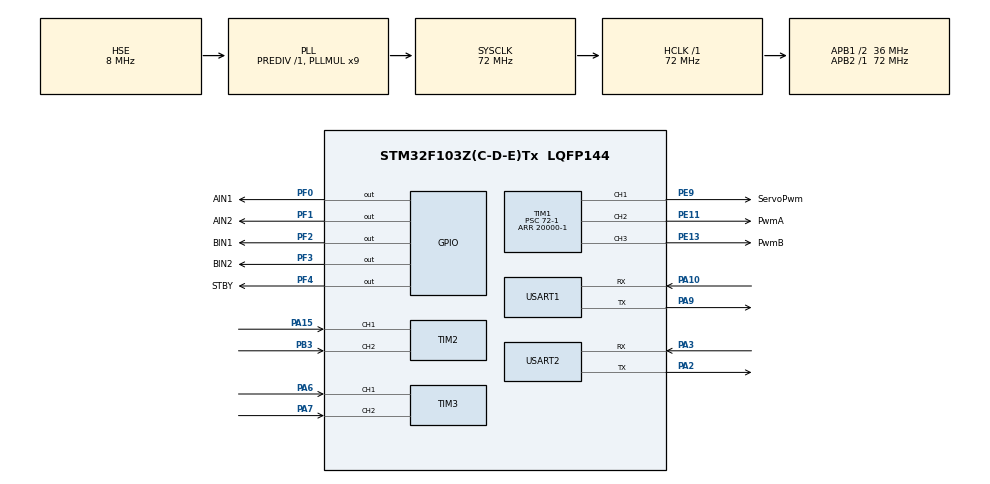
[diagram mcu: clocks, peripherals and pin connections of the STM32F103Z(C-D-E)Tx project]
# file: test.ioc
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Mcu.Family=STM32F1
Mcu.Name=STM32F103Z(C-D-E)Tx
Mcu.Package=LQFP144
NVIC.PriorityGroup=NVIC_PRIORITYGROUP_4
OSC_IN.Mode=HSE-External-Oscillator
OSC_IN.Signal=RCC_OSC_IN
OSC_OUT.Mode=HSE-External-Oscillator
OSC_OUT.Signal=RCC_OSC_OUT
PA10.Mode=Asynchronous
PA10.Signal=USART1_RX
PA13.Mode=Serial_Wire
PA13.Signal=SYS_JTMS-SWDIO
PA14.Mode=Serial_Wire
PA14.Signal=SYS_JTCK-SWCLK
PA15.Signal=S_TIM2_CH1_ETR
PA2.Mode=Asynchronous
PA2.Signal=USART2_TX
PA3.Mode=Asynchronous
PA3.Signal=USART2_RX
PA6.Signal=S_TIM3_CH1
PA7.Signal=S_TIM3_CH2
PA9.Mode=Asynchronous
PA9.Signal=USART1_TX
PB3.Signal=S_TIM2_CH2
PC14-OSC32_IN.Mode=LSE-External-Oscillator
PC14-OSC32_IN.Signal=RCC_OSC32_IN
PC15-OSC32_OUT.Mode=LSE-External-Oscillator
PC15-OSC32_OUT.Signal=RCC_OSC32_OUT
PE11.GPIO_Label=PwmA
PE11.Signal=S_TIM1_CH2
PE13.GPIO_Label=PwmB
PE13.Signal=S_TIM1_CH3
PE9.GPIO_Label=ServoPwm
PE9.Signal=S_TIM1_CH1
PF0.GPIO_Label=AIN1
PF0.Signal=GPIO_Output
PF1.GPIO_Label=AIN2
PF1.Signal=GPIO_Output
PF2.GPIO_Label=BIN1
PF2.Signal=GPIO_Output
PF3.GPIO_Label=BIN2
PF3.Signal=GPIO_Output
PF4.GPIO_Label=STBY
PF4.Signal=GPIO_Output
ProjectManager.HeapSize=0x200
ProjectManager.StackSize=0x400
ProjectManager.TargetToolchain=MDK-ARM V5.32
RCC.AHBFreq_Value=72000000
RCC.APB1CLKDivider=RCC_HCLK_DIV2
RCC.APB1Freq_Value=36000000
RCC.APB1TimFreq_Value=72000000
RCC.APB2Freq_Value=72000000
RCC.APB2TimFreq_Value=72000000
RCC.HCLKFreq_Value=72000000
RCC.PLLMUL=RCC_PLL_MUL9
RCC.PLLSourceVirtual=RCC_PLLSOURCE_HSE
RCC.SYSCLKFreq_VALUE=72000000
RCC.SYSCLKSource=RCC_SYSCLKSOURCE_PLLCLK
RCC.USBFreq_Value=72000000
SH.S_TIM1_CH1.0=TIM1_CH1,PWM Generation1 CH1
SH.S_TIM1_CH2.0=TIM1_CH2,PWM Generation2 CH2
SH.S_TIM1_CH3.0=TIM1_CH3,PWM Generation3 CH3
SH.S_TIM2_CH1_ETR.0=TIM2_CH1,Encoder_Interface
SH.S_TIM2_CH2.0=TIM2_CH2,Encoder_Interface
SH.S_TIM3_CH1.0=TIM3_CH1,Encoder_Interface
SH.S_TIM3_CH2.0=TIM3_CH2,Encoder_Interface
TIM1.AutoReloadPreload=TIM_AUTORELOAD_PRELOAD_ENABLE
TIM1.Channel-PWM\ Generation1\ CH1=TIM_CHANNEL_1
TIM1.Channel-PWM\ Generation2\ CH2=TIM_CHANNEL_2
TIM1.Channel-PWM\ Generation3\ CH3=TIM_CHANNEL_3
TIM1.Period=20000-1
TIM1.Prescaler=72-1
TIM1.Pulse-PWM\ Generation1\ CH1=1500
USART1.VirtualMode=VM_ASYNC
USART2.VirtualMode=VM_ASYNC
VP_TIM1_VS_ClockSourceINT.Mode=Internal
VP_TIM4_VS_ClockSourceINT.Mode=Internal
board=custom

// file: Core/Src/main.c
/* USER CODE BEGIN Header */
/**
  ******************************************************************************
  * @file           : main.c
  * @brief          : Main program body
  ******************************************************************************
  * @attention
  *
  * Copyright (c) 2023 STMicroelectronics.
  * All rights reserved.
  *
  * This software is licensed under terms that can be found in the LICENSE file
  * in the root directory of this software component.
  * If no LICENSE file comes with this software, it is provided AS-IS.
  *
  ******************************************************************************
  */
/* USER CODE END Header */
#include "main.h"
#include "tim.h"
#include "usart.h"
#include "gpio.h"

/* USER CODE BEGIN Includes */
#include <stdio.h>
/* USER CODE END Includes */

/* USER CODE BEGIN PV */
int a = 2;
char data;

/* USER CODE END PV */

void SystemClock_Config(void);
/* USER CODE BEGIN PFP */
/*
舵机控制函数：
返回值：无		参数：float类型的占空比值x%
注：
	7占空比的时候大概在中间位置，舵机使用的是 TIM_1的Channel_1 -> PE9
*/
void ServoControl(float duty_cycle)
{
	int pwm = 0;

	if(duty_cycle < 2.5)	//限制舵机PWM范围为20%-12.5%占空比，超出按照极限值算
	{
		duty_cycle = 2.5;
	}
	else if(duty_cycle > 12.5)
	{
		duty_cycle = 12.5;
	}

	pwm = (duty_cycle /100) * 20000.0;		//换算为pwm数值，计数值为20000
	__HAL_TIM_SET_COMPARE(&htim1, TIM_CHANNEL_1, pwm);
}

/*
电机控制函数：
返回值：无		参数：int类型的左右电机选择	0->左电机 1->右电机
									int类型的前进后退或停止选择	0->前进	1->后退 2->停止
									float类型的占空比值x%
注：
	左电机pwmA口 -> TIM_1的Channel_2 -> PE11
	右电机pwmB口 -> TIM_1的Channel_3 -> PE13
	AIN1 -> PF0		10
	AIN2 -> PF1
	BIN1 -> PF2		10
	BIN2 -> PF3
	STBY -> PF4
*/
void MotorControl(int left_or_right, int direction, float duty_cycle)
{
	int pwm = 0;

	if(duty_cycle < 0)	//限制舵机PWM范围为0%-100%占空比，超出按照极限值算
	{
		duty_cycle = 0;
	}
	else if(duty_cycle > 100)
	{
		duty_cycle = 100;
	}
	pwm = (duty_cycle /100) * 20000.0;		//换算为pwm数值，计数值为20000

	if(left_or_right == 0)	//控制左 或者 右电机 0->左电机 1->右电机
	{
		if(direction == 0)//控制电机前进后退或停止	0->前进	1->后退 2->停止
		{
			HAL_GPIO_WritePin(STBY_GPIO_Port, STBY_Pin, GPIO_PIN_SET);
			HAL_GPIO_WritePin(AIN1_GPIO_Port, AIN1_Pin, GPIO_PIN_RESET);
			HAL_GPIO_WritePin(AIN2_GPIO_Port, AIN2_Pin, GPIO_PIN_SET);
		}
		else if(direction == 1)
		{
			HAL_GPIO_WritePin(STBY_GPIO_Port, STBY_Pin, GPIO_PIN_SET);
			HAL_GPIO_WritePin(AIN1_GPIO_Port, AIN1_Pin, GPIO_PIN_SET);
			HAL_GPIO_WritePin(AIN2_GPIO_Port, AIN2_Pin, GPIO_PIN_RESET);
		}
		else if(direction == 2)
		{
			HAL_GPIO_WritePin(STBY_GPIO_Port, STBY_Pin, GPIO_PIN_RESET);
		}

		__HAL_TIM_SET_COMPARE(&htim1, TIM_CHANNEL_2, pwm);

		}
	else
	{
		if(direction == 0)//控制电机前进后退或停止	0->前进	1->后退 2->停止
		{
			HAL_GPIO_WritePin(STBY_GPIO_Port, STBY_Pin, GPIO_PIN_SET);
			HAL_GPIO_WritePin(BIN1_GPIO_Port, BIN1_Pin, GPIO_PIN_RESET);
			HAL_GPIO_WritePin(BIN2_GPIO_Port, BIN2_Pin, GPIO_PIN_SET);
		}
		else if(direction == 1)
		{
			HAL_GPIO_WritePin(STBY_GPIO_Port, STBY_Pin, GPIO_PIN_SET);
			HAL_GPIO_WritePin(BIN1_GPIO_Port, BIN1_Pin, GPIO_PIN_SET);
			HAL_GPIO_WritePin(BIN2_GPIO_Port, BIN2_Pin, GPIO_PIN_RESET);
		}
		else if(direction == 2)
		{
			HAL_GPIO_WritePin(STBY_GPIO_Port, STBY_Pin, GPIO_PIN_RESET);
		}

		__HAL_TIM_SET_COMPARE(&htim1, TIM_CHANNEL_3, pwm);
	}

}
/* USER CODE END PFP */

/* USER CODE BEGIN 0 */
/*
重定向printf和scanf函数，需引用<stdio.h>并且在设置中勾选USE MicroLib
*/
int fputc(int ch, FILE *f)
{
	uint8_t temp[1] = {ch};
	HAL_UART_Transmit(&huart1, temp, 1, 0xffff);
	return ch;
}

/*
int fgetc(FILE * f)
{
  uint8_t ch = 0;
  HAL_UART_Receive(&huart1,&ch, 1, 0xffff);
  return ch;
}
*/

//重定向c库函数scanf到串口，重写向后可使用scanf、getchar等函数
//int fgetc(FILE *f)
//{
//		/* 等待串口输入数据 */
//		while (USART_GetFlagStatus(&huart1, USART_FLAG_RXNE) == RESET);
//		//DEBUG_USARTx改成你想用的USART端口
//		return (int)USART_ReceiveData(&huart1);
//		//DEBUG_USARTx改成你想用的USART端口
//}

/* USER CODE END 0 */

int main(void)
{

  /* MCU Configuration--------------------------------------------------------*/

  /* Reset of all peripherals, Initializes the Flash interface and the Systick. */
  HAL_Init();

  /* Configure the system clock */
  SystemClock_Config();

  /* Initialize all configured peripherals */
  MX_GPIO_Init();
  MX_TIM1_Init();
  MX_TIM2_Init();
  MX_TIM3_Init();
  MX_TIM4_Init();
  MX_USART1_UART_Init();
  MX_USART2_UART_Init();
  /* USER CODE BEGIN 2 */
	HAL_TIM_PWM_Start(&htim1, TIM_CHANNEL_1); //开启TIM1 CHANNEL_1的PWM	舵机
	HAL_TIM_PWM_Start(&htim1, TIM_CHANNEL_2); //开启TIM1 CHANNEL_2的PWM	左电机
	HAL_TIM_PWM_Start(&htim1, TIM_CHANNEL_3); //开启TIM1 CHANNEL_3的PWM		右电机
  /* USER CODE END 2 */

  /* Infinite loop */
  /* USER CODE BEGIN WHILE */
  while (1)
  {
//		data = getchar();
//		printf("data is %c\n", data);

		/*
		进库
		*/
		HAL_Delay(1000);
		ServoControl(100);
		HAL_Delay(3000);
		MotorControl(0, 1, 100);
		MotorControl(1, 1, 100);

		HAL_Delay(500);

		MotorControl(0, 2, 0);
		MotorControl(1, 2, 0);
		HAL_Delay(1000);
		ServoControl(7);

		HAL_Delay(1000);

		MotorControl(0, 1, 100);
		MotorControl(1, 1, 100);

		HAL_Delay(150);

		MotorControl(0, 2, 0);
		MotorControl(1, 2, 0);

		/*

		出库1

		*/
		HAL_Delay(2000);

		MotorControl(0, 0, 100);
		MotorControl(1, 0, 100);
		HAL_Delay(110);
		MotorControl(0, 2, 0);
		MotorControl(1, 2, 0);
		HAL_Delay(1000);

		ServoControl(100);
		HAL_Delay(1000);
		MotorControl(0, 0, 100);
		MotorControl(1, 0, 100);
		HAL_Delay(500);

		MotorControl(0, 2, 0);
		MotorControl(1, 2, 0);
		HAL_Delay(1000);
		ServoControl(7);

		//停车
		MotorControl(0,2,0);
		MotorControl(1,2,0);
		HAL_Delay(1000);
		ServoControl(7);
		HAL_Delay(1000);

		break;

    /* USER CODE END WHILE */

  }
}

void SystemClock_Config(void)
{
  RCC_OscInitTypeDef RCC_OscInitStruct = {0};
  RCC_ClkInitTypeDef RCC_ClkInitStruct = {0};

  /** Initializes the RCC Oscillators according to the specified parameters
  * in the RCC_OscInitTypeDef structure.
  */
  RCC_OscInitStruct.OscillatorType = RCC_OSCILLATORTYPE_HSE;
  RCC_OscInitStruct.HSEState = RCC_HSE_ON;
  RCC_OscInitStruct.HSEPredivValue = RCC_HSE_PREDIV_DIV1;
  RCC_OscInitStruct.HSIState = RCC_HSI_ON;
  RCC_OscInitStruct.PLL.PLLState = RCC_PLL_ON;
  RCC_OscInitStruct.PLL.PLLSource = RCC_PLLSOURCE_HSE;
  RCC_OscInitStruct.PLL.PLLMUL = RCC_PLL_MUL9;
  if (HAL_RCC_OscConfig(&RCC_OscInitStruct) != HAL_OK)
  {
    Error_Handler();
  }

  /** Initializes the CPU, AHB and APB buses clocks
  */
  RCC_ClkInitStruct.ClockType = RCC_CLOCKTYPE_HCLK|RCC_CLOCKTYPE_SYSCLK
                              |RCC_CLOCKTYPE_PCLK1|RCC_CLOCKTYPE_PCLK2;
  RCC_ClkInitStruct.SYSCLKSource = RCC_SYSCLKSOURCE_PLLCLK;
  RCC_ClkInitStruct.AHBCLKDivider = RCC_SYSCLK_DIV1;
  RCC_ClkInitStruct.APB1CLKDivider = RCC_HCLK_DIV2;
  RCC_ClkInitStruct.APB2CLKDivider = RCC_HCLK_DIV1;

  if (HAL_RCC_ClockConfig(&RCC_ClkInitStruct, FLASH_LATENCY_2) != HAL_OK)
  {
    Error_Handler();
  }
}

void Error_Handler(void)
{
  __disable_irq();
  while (1)
  {
  }
}
